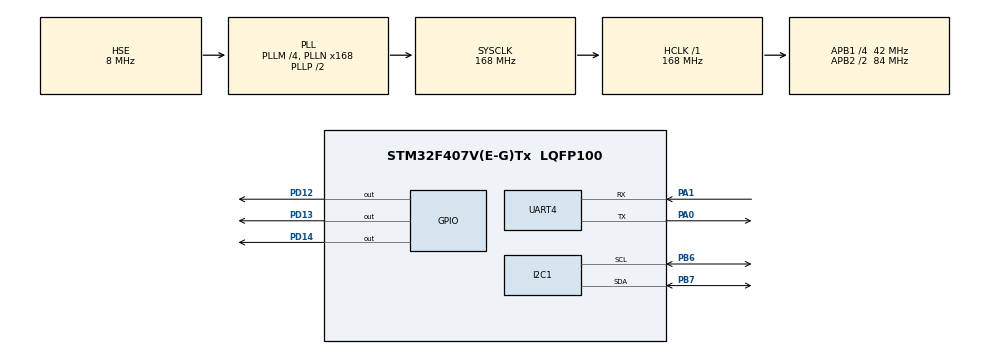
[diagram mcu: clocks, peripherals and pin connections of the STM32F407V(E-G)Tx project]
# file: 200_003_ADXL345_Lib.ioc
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Mcu.Family=STM32F4
Mcu.Name=STM32F407V(E-G)Tx
Mcu.Package=LQFP100
NVIC.PriorityGroup=NVIC_PRIORITYGROUP_4
PA0-WKUP.Mode=Asynchronous
PA0-WKUP.Signal=UART4_TX
PA1.Mode=Asynchronous
PA1.Signal=UART4_RX
PB6.Mode=I2C
PB6.Signal=I2C1_SCL
PB7.Mode=I2C
PB7.Signal=I2C1_SDA
PD12.Signal=GPIO_Output
PD13.Signal=GPIO_Output
PD14.Signal=GPIO_Output
PH0-OSC_IN.Mode=HSE-External-Oscillator
PH0-OSC_IN.Signal=RCC_OSC_IN
PH1-OSC_OUT.Mode=HSE-External-Oscillator
PH1-OSC_OUT.Signal=RCC_OSC_OUT
ProjectManager.HeapSize=0x200
ProjectManager.StackSize=0x400
ProjectManager.TargetToolchain=STM32CubeIDE
RCC.48MHZClocksFreq_Value=84000000
RCC.AHBFreq_Value=168000000
RCC.APB1CLKDivider=RCC_HCLK_DIV4
RCC.APB1Freq_Value=42000000
RCC.APB1TimFreq_Value=84000000
RCC.APB2CLKDivider=RCC_HCLK_DIV2
RCC.APB2Freq_Value=84000000
RCC.APB2TimFreq_Value=168000000
RCC.CortexFreq_Value=168000000
RCC.HCLKFreq_Value=168000000
RCC.HSE_VALUE=8000000
RCC.HSI_VALUE=16000000
RCC.LSE_VALUE=32768
RCC.PLLM=4
RCC.PLLN=168
RCC.PLLSourceVirtual=RCC_PLLSOURCE_HSE
RCC.SYSCLKFreq_VALUE=168000000
RCC.SYSCLKSource=RCC_SYSCLKSOURCE_PLLCLK
RCC.VCOOutputFreq_Value=336000000
UART4.VirtualMode=Asynchronous
board=custom

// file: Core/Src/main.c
/* USER CODE BEGIN Header */
/**
  ******************************************************************************
  * @file           : main.c
  * @brief          : Main program body
  ******************************************************************************
  * @attention
  *
  * Copyright (c) 2025 STMicroelectronics.
  * All rights reserved.
  *
  * This software is licensed under terms that can be found in the LICENSE file
  * in the root directory of this software component.
  * If no LICENSE file comes with this software, it is provided AS-IS.
  *
  ******************************************************************************
  */
/* USER CODE END Header */
#include "main.h"

/* USER CODE BEGIN Includes */
#include "adxl345.h"
/* USER CODE END Includes */

I2C_HandleTypeDef hi2c1;

UART_HandleTypeDef huart4;

/* USER CODE BEGIN PV */
uint8_t address, tapStatus, freeFallStatus;
int16_t x,y,z;
float xG,yG,zG;
/* USER CODE END PV */

void SystemClock_Config(void);
static void MX_GPIO_Init(void);
static void MX_I2C1_Init(void);
static void MX_UART4_Init(void);

/* USER CODE BEGIN 0 */
void Scan()
{
	for(address = 0; address <= 255; address++)
	{
		if(HAL_I2C_IsDeviceReady(&hi2c1, address, 1, 1000) == HAL_OK)
		{
			HAL_GPIO_WritePin(GPIOD, GPIO_PIN_12, GPIO_PIN_SET);
			break;
		}
	}

}
/* USER CODE END 0 */

int main(void)
{

  /* MCU Configuration--------------------------------------------------------*/

  /* Reset of all peripherals, Initializes the Flash interface and the Systick. */
  HAL_Init();

  /* Configure the system clock */
  SystemClock_Config();

  /* Initialize all configured peripherals */
  MX_GPIO_Init();
  MX_I2C1_Init();
  MX_UART4_Init();
  /* USER CODE BEGIN 2 */
  Scan();
  ADXL345_Init(&hi2c1, &huart4);
  /* USER CODE END 2 */

  /* Infinite loop */
  while (1)
  {

    /* USER CODE BEGIN 3 */
	  x = ADXL345_READ_X_AXIS(&hi2c1);             // X ekseninden ham ivme değerini al
	  y = ADXL345_READ_Y_AXIS(&hi2c1);             // Y ekseninden ham ivme değerini al
	  z = ADXL345_READ_Z_AXIS(&hi2c1);             // Z ekseninden ham ivme değerini al

	  xG = ADXL345_READ_X_G_VALUE(&hi2c1);         // X ekseninden G değeri hesapla
	  yG = ADXL345_READ_Y_G_VALUE(&hi2c1);         // Y ekseninden G değeri hesapla
	  zG = ADXL345_READ_Z_G_VALUE(&hi2c1);         // Z ekseninden G değeri hesapla

	  tapStatus = ADXL345_READ_TAP(&hi2c1);        // Tek/çift dokunma olayını oku
	  freeFallStatus = ADXL345_READ_FREE_FALL(&hi2c1); // Serbest düşüş durumu kontrolü

	 if(tapStatus == 1)                           // Tek dokunma algılandıysa
	 {
	   HAL_GPIO_TogglePin(GPIOD, GPIO_PIN_13);  // PD13 LED’ini toggle et
	 }
	 else if(tapStatus == 2)                      // Çift dokunma algılandıysa
	 {
	   HAL_GPIO_TogglePin(GPIOD, GPIO_PIN_14);  // PD14 LED’ini toggle et
	 }

	if(freeFallStatus == 1)                      // Serbest düşüş algılandıysa
	{
	  HAL_GPIO_TogglePin(GPIOD, GPIO_PIN_12);  // PD12 LED’ini toggle et
	}
  }
  /* USER CODE END 3 */
}

void SystemClock_Config(void)
{
  RCC_OscInitTypeDef RCC_OscInitStruct = {0};
  RCC_ClkInitTypeDef RCC_ClkInitStruct = {0};

  /** Configure the main internal regulator output voltage
  */
  __HAL_RCC_PWR_CLK_ENABLE();
  __HAL_PWR_VOLTAGESCALING_CONFIG(PWR_REGULATOR_VOLTAGE_SCALE1);

  /** Initializes the RCC Oscillators according to the specified parameters
  * in the RCC_OscInitTypeDef structure.
  */
  RCC_OscInitStruct.OscillatorType = RCC_OSCILLATORTYPE_HSE;
  RCC_OscInitStruct.HSEState = RCC_HSE_ON;
  RCC_OscInitStruct.PLL.PLLState = RCC_PLL_ON;
  RCC_OscInitStruct.PLL.PLLSource = RCC_PLLSOURCE_HSE;
  RCC_OscInitStruct.PLL.PLLM = 4;
  RCC_OscInitStruct.PLL.PLLN = 168;
  RCC_OscInitStruct.PLL.PLLP = RCC_PLLP_DIV2;
  RCC_OscInitStruct.PLL.PLLQ = 4;
  if (HAL_RCC_OscConfig(&RCC_OscInitStruct) != HAL_OK)
  {
    Error_Handler();
  }

  /** Initializes the CPU, AHB and APB buses clocks
  */
  RCC_ClkInitStruct.ClockType = RCC_CLOCKTYPE_HCLK|RCC_CLOCKTYPE_SYSCLK
                              |RCC_CLOCKTYPE_PCLK1|RCC_CLOCKTYPE_PCLK2;
  RCC_ClkInitStruct.SYSCLKSource = RCC_SYSCLKSOURCE_PLLCLK;
  RCC_ClkInitStruct.AHBCLKDivider = RCC_SYSCLK_DIV1;
  RCC_ClkInitStruct.APB1CLKDivider = RCC_HCLK_DIV4;
  RCC_ClkInitStruct.APB2CLKDivider = RCC_HCLK_DIV2;

  if (HAL_RCC_ClockConfig(&RCC_ClkInitStruct, FLASH_LATENCY_5) != HAL_OK)
  {
    Error_Handler();
  }
}

static void MX_I2C1_Init(void)
{

  hi2c1.Instance = I2C1;
  hi2c1.Init.ClockSpeed = 100000;
  hi2c1.Init.DutyCycle = I2C_DUTYCYCLE_2;
  hi2c1.Init.OwnAddress1 = 0;
  hi2c1.Init.AddressingMode = I2C_ADDRESSINGMODE_7BIT;
  hi2c1.Init.DualAddressMode = I2C_DUALADDRESS_DISABLE;
  hi2c1.Init.OwnAddress2 = 0;
  hi2c1.Init.GeneralCallMode = I2C_GENERALCALL_DISABLE;
  hi2c1.Init.NoStretchMode = I2C_NOSTRETCH_DISABLE;
  if (HAL_I2C_Init(&hi2c1) != HAL_OK)
  {
    Error_Handler();
  }

}

static void MX_UART4_Init(void)
{

  huart4.Instance = UART4;
  huart4.Init.BaudRate = 115200;
  huart4.Init.WordLength = UART_WORDLENGTH_8B;
  huart4.Init.StopBits = UART_STOPBITS_1;
  huart4.Init.Parity = UART_PARITY_NONE;
  huart4.Init.Mode = UART_MODE_TX_RX;
  huart4.Init.HwFlowCtl = UART_HWCONTROL_NONE;
  huart4.Init.OverSampling = UART_OVERSAMPLING_16;
  if (HAL_UART_Init(&huart4) != HAL_OK)
  {
    Error_Handler();
  }

}

static void MX_GPIO_Init(void)
{
  GPIO_InitTypeDef GPIO_InitStruct = {0};

  /* GPIO Ports Clock Enable */
  __HAL_RCC_GPIOH_CLK_ENABLE();
  __HAL_RCC_GPIOA_CLK_ENABLE();
  __HAL_RCC_GPIOD_CLK_ENABLE();
  __HAL_RCC_GPIOB_CLK_ENABLE();

  /*Configure GPIO pin Output Level */
  HAL_GPIO_WritePin(GPIOD, GPIO_PIN_12|GPIO_PIN_13|GPIO_PIN_14, GPIO_PIN_RESET);

  /*Configure GPIO pins : PD12 PD13 PD14 */
  GPIO_InitStruct.Pin = GPIO_PIN_12|GPIO_PIN_13|GPIO_PIN_14;
  GPIO_InitStruct.Mode = GPIO_MODE_OUTPUT_PP;
  GPIO_InitStruct.Pull = GPIO_NOPULL;
  GPIO_InitStruct.Speed = GPIO_SPEED_FREQ_LOW;
  HAL_GPIO_Init(GPIOD, &GPIO_InitStruct);

}

void Error_Handler(void)
{
  __disable_irq();
  while (1)
  {
  }
}
